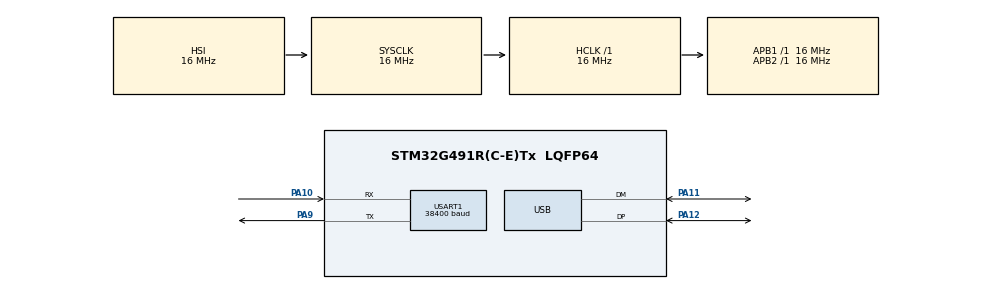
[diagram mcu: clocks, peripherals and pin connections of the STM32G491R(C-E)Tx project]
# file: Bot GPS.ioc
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Dma.Request0=USART1_RX
Dma.USART1_RX.0.Direction=DMA_PERIPH_TO_MEMORY
Dma.USART1_RX.0.EventEnable=DISABLE
Dma.USART1_RX.0.Instance=DMA1_Channel1
Dma.USART1_RX.0.MemDataAlignment=DMA_MDATAALIGN_BYTE
Dma.USART1_RX.0.MemInc=DMA_MINC_ENABLE
Dma.USART1_RX.0.Mode=DMA_NORMAL
Dma.USART1_RX.0.PeriphDataAlignment=DMA_PDATAALIGN_BYTE
Dma.USART1_RX.0.PeriphInc=DMA_PINC_DISABLE
Dma.USART1_RX.0.Polarity=HAL_DMAMUX_REQ_GEN_RISING
Dma.USART1_RX.0.Priority=DMA_PRIORITY_LOW
Dma.USART1_RX.0.RequestNumber=1
Dma.USART1_RX.0.SignalID=NONE
Dma.USART1_RX.0.SyncEnable=DISABLE
Dma.USART1_RX.0.SyncPolarity=HAL_DMAMUX_SYNC_NO_EVENT
Dma.USART1_RX.0.SyncRequestNumber=1
Dma.USART1_RX.0.SyncSignalID=NONE
Mcu.Family=STM32G4
Mcu.Name=STM32G491R(C-E)Tx
Mcu.Package=LQFP64
NVIC.DMA1_Channel1_IRQn=true\:0\:0\:false\:false\:true\:false\:true\:true
NVIC.PriorityGroup=NVIC_PRIORITYGROUP_4
NVIC.USB_LP_IRQn=true\:0\:0\:false\:false\:true\:false\:true\:true
PA10.Mode=Asynchronous
PA10.Signal=USART1_RX
PA11.Mode=Device
PA11.Signal=USB_DM
PA12.Mode=Device
PA12.Signal=USB_DP
PA13.Mode=Serial_Wire
PA13.Signal=SYS_JTMS-SWDIO
PA14.Mode=Serial_Wire
PA14.Signal=SYS_JTCK-SWCLK
PA9.Mode=Asynchronous
PA9.Signal=USART1_TX
PF0-OSC_IN.Mode=HSE-External-Oscillator
PF0-OSC_IN.Signal=RCC_OSC_IN
PF1-OSC_OUT.Mode=HSE-External-Oscillator
PF1-OSC_OUT.Signal=RCC_OSC_OUT
ProjectManager.HeapSize=0x200
ProjectManager.StackSize=0x400
ProjectManager.TargetToolchain=STM32CubeIDE
RCC.AHBFreq_Value=16000000
RCC.APB1Freq_Value=16000000
RCC.APB1TimFreq_Value=16000000
RCC.APB2Freq_Value=16000000
RCC.APB2TimFreq_Value=16000000
RCC.CortexFreq_Value=16000000
RCC.EXTERNAL_CLOCK_VALUE=12288000
RCC.HCLKFreq_Value=16000000
RCC.HSE_VALUE=8000000
RCC.HSI48_VALUE=48000000
RCC.HSI_VALUE=16000000
RCC.LSE_VALUE=32768
RCC.SYSCLKFreq_VALUE=16000000
RCC.USBFreq_Value=48000000
RCC.VCOOutputFreq_Value=128000000
USART1.BaudRate=38400
USART1.Mode=MODE_RX
USART1.VirtualMode-Asynchronous=VM_ASYNC
USB_DEVICE.CLASS_NAME_FS=CDC
USB_DEVICE.VirtualMode=Cdc
USB_DEVICE.VirtualModeFS=Cdc_FS
VP_SYS_VS_DBSignals.Mode=DisableDeadBatterySignals
VP_USB_DEVICE_VS_USB_DEVICE_CDC_FS.Mode=CDC_FS
board=custom

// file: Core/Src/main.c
/* USER CODE BEGIN Header */
/**
  ******************************************************************************
  * @file           : main.c
  * @brief          : Main program body
  ******************************************************************************
  * @attention
  *
  * Copyright (c) 2025 STMicroelectronics.
  * All rights reserved.
  *
  * This software is licensed under terms that can be found in the LICENSE file
  * in the root directory of this software component.
  * If no LICENSE file comes with this software, it is provided AS-IS.
  *
  ******************************************************************************
  */
/* USER CODE END Header */
#include "main.h"
#include "usb_device.h"

/* USER CODE BEGIN Includes */
#include "stm32g4xx_hal.h"
#include <stdio.h>
#include <string.h>
#include <stdlib.h>
#include "usbd_cdc_if.h"
/* USER CODE END Includes */

/* USER CODE BEGIN PTD */
void process_gpgga_message();
void process_gpgsa_message();
#define buffsize 1024
#define MAX_NMEA_MESSAGE_SIZE 128
#define maxstor 20

char CDC_RX_BUF[buffsize];
char gpgga[MAX_NMEA_MESSAGE_SIZE];
char gpgsa[200];
char onebigstring[300];

char time[maxstor];
float latitude2;
float longitude2;
float altitude2;
int fix2;
int nofsat2;
float hdop2;
float hogeoid2;
float vdop2;
int hours;
int min;
int sec;

char latitude[maxstor];
char longitude[maxstor];
char altitude[maxstor];
char fix[maxstor];
char nofsat[maxstor];
char hdop[maxstor];
char hogeoid[maxstor];
char vdop[maxstor];
char hours2[5];
char min2[5];
char sec2[5];

volatile int latready=0;
volatile int longready=0;
volatile int altready=0;
volatile int fixready=0;
volatile int satready=0;
volatile int hdopready=0;
volatile int vdopready=0;
volatile int hogeoidready=0;
volatile int timeready=0;

/* USER CODE END PTD */

/* USER CODE BEGIN PD */
void timeparse() {
    hours = (time[0] - '0') * 10 + (time[1] - '0');
    min = (time[2] - '0') * 10 + (time[3] - '0');
    sec = (time[4] - '0') * 10 + (time[5] - '0');
}
/* USER CODE END PD */

UART_HandleTypeDef huart1;
DMA_HandleTypeDef hdma_usart1_rx;

void SystemClock_Config(void);
static void MX_GPIO_Init(void);
static void MX_DMA_Init(void);
static void MX_USART1_UART_Init(void);
/* USER CODE BEGIN PFP */

void findandcopygpgga(const char *startingpt, const char *endingpt) {
    char *begin = strstr(CDC_RX_BUF, startingpt);
    if (begin == NULL) {
        return;
    }

    char *end = strstr(begin, endingpt);
    if (end == NULL) {
        return;
    }

    strncpy(gpgga, begin, end - begin);
}

void findAndCopygpgsa() {
	 char *begin = strstr(CDC_RX_BUF, "$GPGNA");
	    if (begin == NULL) {
	        return ;
	    }

	    char *stop = strstr(begin, "\n");
	    if (stop == NULL) {
	        return;
	    }

	    int length = stop - begin;

	    for (int i = 0; i < length; i++) {
	        gpgsa[i] = begin[i];
	    }
	    gpgsa[length] = '\0';
}

void process_gpgga_message() {

        char *token = strtok(gpgga, ",");
        int findex = 0;
        while (token != NULL) {

            switch (findex) {
            case 1:  // Time
         strcpy(time, token);
         timeparse();
         hours2[0]=time[0];
         hours2[1]=time[1];
         hours2[2]='\0';
         min2[0]=time[2];
         min2[1]=time[3];
         min2[2]='\0';
         sec2[0]=time[4];
         sec2[1]=time[5];
         sec2[2]='\0';
         timeready=1;

         break;
            case 2:  // Latitude
            	strcpy(latitude, token);
            	latitude2=atof(latitude);
            	latready=1;

            	break;
            case 4:  // Longitude
            	strcpy(longitude, token);
            	longitude2=atof(longitude);
            	longready=1;

            	break;
            case 9:  // Altitude
            	strcpy(altitude, token);
            	altitude2=atof(altitude);
            	altready=1;

            	break;
            case 6:  // GPS FIX
            	strcpy(fix, token);
            	fix2 = atoi(fix);
            	fixready=1;

            	break;
            case 7:  // number of satellites
            	strcpy(nofsat, token);
            	nofsat2 = atoi(nofsat);
            	satready=1;

            	break;
            case 8:  // HDOP
            	strcpy(hdop, token);
            	hdop2 = atof(hdop);
            	hdopready=1;

            	break;

            }
            token = strtok(NULL, ",");
            findex++;
        }

}

void process_gpgsa_message()
{
	  char gpgsa_copy[200];
	   strcpy(gpgsa_copy, gpgsa);
	    char *tok = strtok(gpgsa_copy, ",*");
	    int fondex = 0;
	    int vdopIndex = 5 + nofsat2;
	    while (tok != NULL) {
    	 if (fondex == vdopIndex) {
	            strcpy(vdop, tok);
	             vdop2 = atof(vdop);
	              break;
	    	        }
	        tok = strtok(NULL, ",*");
	        fondex++;
	    }

}

void joinstring()
{

	strcpy(onebigstring, "Time: ");
	strcat(onebigstring, hours2);
	strcat(onebigstring, " hours ");
	strcat(onebigstring, min2);
	strcat(onebigstring, " min ");
	strcat(onebigstring, sec2);
	strcat(onebigstring, " sec ");
	strcat(onebigstring, "\n");

	strcat(onebigstring, "Latitude: ");
	strcat(onebigstring, latitude);
	strcat(onebigstring, "\n");

	strcat(onebigstring, "Longitude: ");
	strcat(onebigstring, longitude);
	strcat(onebigstring, "\n");

	strcat(onebigstring, "Altitude: ");
	strcat(onebigstring, altitude);
	strcat(onebigstring, "\n");

	strcat(onebigstring, "Hdop: ");
	strcat(onebigstring, hdop);
	strcat(onebigstring, "\n");

	strcat(onebigstring, "Vdop: ");
	strcat(onebigstring, vdop);
	strcat(onebigstring, "\n");

	strcat(onebigstring, "Fix: ");
	strcat(onebigstring, fix);
	strcat(onebigstring, "\n");

	strcat(onebigstring, "No. of Satellites: ");
	strcat(onebigstring, nofsat);
	strcat(onebigstring, "\n");
	strcat(onebigstring, "-------------------------------------------------------\n");

}

/* USER CODE END PFP */

/* USER CODE BEGIN 0 */
void HAL_UART_RxCpltCallback(UART_HandleTypeDef *huart) {
	findandcopygpgga("$GNGGA","\n");
	process_gpgga_message();
	findAndCopygpgsa();
	process_gpgsa_message();
	joinstring();
    HAL_UART_Receive_DMA(&huart1, (uint8_t *)CDC_RX_BUF, buffsize);
}
/* USER CODE END 0 */

int main(void)
{

  /* MCU Configuration--------------------------------------------------------*/

  /* Reset of all peripherals, Initializes the Flash interface and the Systick. */
  HAL_Init();

  /* Configure the system clock */
  SystemClock_Config();

  /* Initialize all configured peripherals */
  MX_GPIO_Init();
  MX_DMA_Init();
  MX_USART1_UART_Init();
  MX_USB_Device_Init();
  /* USER CODE BEGIN 2 */
  HAL_UART_Receive_DMA(&huart1, (uint8_t *)CDC_RX_BUF, buffsize);
  /* USER CODE END 2 */

  /* Infinite loop */
  /* USER CODE BEGIN WHILE */
  while (1)
  {

	  CDC_Transmit_FS((uint8_t *)onebigstring, strlen(onebigstring));
	  	  	       HAL_Delay(500);
    /* USER CODE END WHILE */

  }
}

void SystemClock_Config(void)
{
  RCC_OscInitTypeDef RCC_OscInitStruct = {0};
  RCC_ClkInitTypeDef RCC_ClkInitStruct = {0};

  /** Configure the main internal regulator output voltage
  */
  HAL_PWREx_ControlVoltageScaling(PWR_REGULATOR_VOLTAGE_SCALE1);

  /** Initializes the RCC Oscillators according to the specified parameters
  * in the RCC_OscInitTypeDef structure.
  */
  RCC_OscInitStruct.OscillatorType = RCC_OSCILLATORTYPE_HSI|RCC_OSCILLATORTYPE_HSI48;
  RCC_OscInitStruct.HSIState = RCC_HSI_ON;
  RCC_OscInitStruct.HSICalibrationValue = RCC_HSICALIBRATION_DEFAULT;
  RCC_OscInitStruct.HSI48State = RCC_HSI48_ON;
  RCC_OscInitStruct.PLL.PLLState = RCC_PLL_NONE;
  if (HAL_RCC_OscConfig(&RCC_OscInitStruct) != HAL_OK)
  {
    Error_Handler();
  }

  /** Initializes the CPU, AHB and APB buses clocks
  */
  RCC_ClkInitStruct.ClockType = RCC_CLOCKTYPE_HCLK|RCC_CLOCKTYPE_SYSCLK
                              |RCC_CLOCKTYPE_PCLK1|RCC_CLOCKTYPE_PCLK2;
  RCC_ClkInitStruct.SYSCLKSource = RCC_SYSCLKSOURCE_HSI;
  RCC_ClkInitStruct.AHBCLKDivider = RCC_SYSCLK_DIV1;
  RCC_ClkInitStruct.APB1CLKDivider = RCC_HCLK_DIV1;
  RCC_ClkInitStruct.APB2CLKDivider = RCC_HCLK_DIV1;

  if (HAL_RCC_ClockConfig(&RCC_ClkInitStruct, FLASH_LATENCY_0) != HAL_OK)
  {
    Error_Handler();
  }
}

static void MX_USART1_UART_Init(void)
{

  huart1.Instance = USART1;
  huart1.Init.BaudRate = 38400;
  huart1.Init.WordLength = UART_WORDLENGTH_8B;
  huart1.Init.StopBits = UART_STOPBITS_1;
  huart1.Init.Parity = UART_PARITY_NONE;
  huart1.Init.Mode = UART_MODE_RX;
  huart1.Init.HwFlowCtl = UART_HWCONTROL_NONE;
  huart1.Init.OverSampling = UART_OVERSAMPLING_16;
  huart1.Init.OneBitSampling = UART_ONE_BIT_SAMPLE_DISABLE;
  huart1.Init.ClockPrescaler = UART_PRESCALER_DIV1;
  huart1.AdvancedInit.AdvFeatureInit = UART_ADVFEATURE_NO_INIT;
  if (HAL_UART_Init(&huart1) != HAL_OK)
  {
    Error_Handler();
  }
  if (HAL_UARTEx_SetTxFifoThreshold(&huart1, UART_TXFIFO_THRESHOLD_1_8) != HAL_OK)
  {
    Error_Handler();
  }
  if (HAL_UARTEx_SetRxFifoThreshold(&huart1, UART_RXFIFO_THRESHOLD_1_8) != HAL_OK)
  {
    Error_Handler();
  }
  if (HAL_UARTEx_DisableFifoMode(&huart1) != HAL_OK)
  {
    Error_Handler();
  }

}

static void MX_DMA_Init(void)
{

  /* DMA controller clock enable */
  __HAL_RCC_DMAMUX1_CLK_ENABLE();
  __HAL_RCC_DMA1_CLK_ENABLE();

  /* DMA interrupt init */
  /* DMA1_Channel1_IRQn interrupt configuration */
  HAL_NVIC_SetPriority(DMA1_Channel1_IRQn, 0, 0);
  HAL_NVIC_EnableIRQ(DMA1_Channel1_IRQn);

}

static void MX_GPIO_Init(void)
{

  /* GPIO Ports Clock Enable */
  __HAL_RCC_GPIOF_CLK_ENABLE();
  __HAL_RCC_GPIOA_CLK_ENABLE();

}

void Error_Handler(void)
{
  __disable_irq();
  while (1)
  {
  }
}
